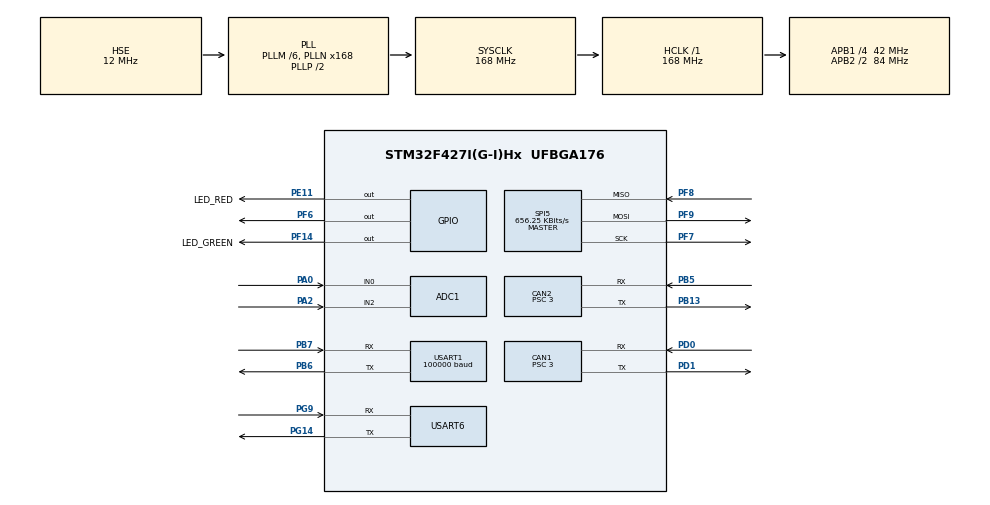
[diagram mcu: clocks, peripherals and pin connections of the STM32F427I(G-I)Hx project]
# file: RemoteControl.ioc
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ADC1.Channel-0\#ChannelRegularConversion=ADC_CHANNEL_0
ADC1.Channel-1\#ChannelRegularConversion=ADC_CHANNEL_2
ADC1.ClockPrescaler=ADC_CLOCK_SYNC_PCLK_DIV8
ADC1.ContinuousConvMode=ENABLE
ADC1.DMAContinuousRequests=ENABLE
ADC1.NbrOfConversion=2
ADC1.NbrOfConversionFlag=1
ADC1.Rank-0\#ChannelRegularConversion=1
ADC1.Rank-1\#ChannelRegularConversion=2
ADC1.SamplingTime-0\#ChannelRegularConversion=ADC_SAMPLETIME_3CYCLES
ADC1.SamplingTime-1\#ChannelRegularConversion=ADC_SAMPLETIME_3CYCLES
ADC1.ScanConvMode=ENABLE
ADC1.master=1
CAN1.BS1=CAN_BS1_10TQ
CAN1.BS2=CAN_BS2_3TQ
CAN1.CalculateBaudRate=1000000
CAN1.CalculateTimeBit=1000
CAN1.CalculateTimeQuantum=71.42857142857143
CAN1.Prescaler=3
CAN2.BS1=CAN_BS1_10TQ
CAN2.BS2=CAN_BS2_3TQ
CAN2.CalculateBaudRate=1000000
CAN2.CalculateTimeBit=1000
CAN2.CalculateTimeQuantum=71.42857142857143
CAN2.Prescaler=3
Dma.ADC1.1.Direction=DMA_PERIPH_TO_MEMORY
Dma.ADC1.1.FIFOMode=DMA_FIFOMODE_DISABLE
Dma.ADC1.1.Instance=DMA2_Stream0
Dma.ADC1.1.MemDataAlignment=DMA_MDATAALIGN_HALFWORD
Dma.ADC1.1.MemInc=DMA_MINC_ENABLE
Dma.ADC1.1.Mode=DMA_CIRCULAR
Dma.ADC1.1.PeriphDataAlignment=DMA_PDATAALIGN_HALFWORD
Dma.ADC1.1.PeriphInc=DMA_PINC_DISABLE
Dma.ADC1.1.Priority=DMA_PRIORITY_HIGH
Dma.Request0=USART1_RX
Dma.Request1=ADC1
Dma.Request2=USART6_RX
Dma.Request3=USART6_TX
Dma.USART1_RX.0.Direction=DMA_PERIPH_TO_MEMORY
Dma.USART1_RX.0.FIFOMode=DMA_FIFOMODE_DISABLE
Dma.USART1_RX.0.Instance=DMA2_Stream2
Dma.USART1_RX.0.MemDataAlignment=DMA_MDATAALIGN_BYTE
Dma.USART1_RX.0.MemInc=DMA_MINC_ENABLE
Dma.USART1_RX.0.Mode=DMA_CIRCULAR
Dma.USART1_RX.0.PeriphDataAlignment=DMA_PDATAALIGN_BYTE
Dma.USART1_RX.0.PeriphInc=DMA_PINC_DISABLE
Dma.USART1_RX.0.Priority=DMA_PRIORITY_LOW
Dma.USART6_RX.2.Direction=DMA_PERIPH_TO_MEMORY
Dma.USART6_RX.2.FIFOMode=DMA_FIFOMODE_DISABLE
Dma.USART6_RX.2.Instance=DMA2_Stream1
Dma.USART6_RX.2.MemDataAlignment=DMA_MDATAALIGN_BYTE
Dma.USART6_RX.2.MemInc=DMA_MINC_ENABLE
Dma.USART6_RX.2.Mode=DMA_NORMAL
Dma.USART6_RX.2.PeriphDataAlignment=DMA_PDATAALIGN_BYTE
Dma.USART6_RX.2.PeriphInc=DMA_PINC_DISABLE
Dma.USART6_RX.2.Priority=DMA_PRIORITY_HIGH
Dma.USART6_TX.3.Direction=DMA_MEMORY_TO_PERIPH
Dma.USART6_TX.3.FIFOMode=DMA_FIFOMODE_DISABLE
Dma.USART6_TX.3.Instance=DMA2_Stream6
Dma.USART6_TX.3.MemDataAlignment=DMA_MDATAALIGN_BYTE
Dma.USART6_TX.3.MemInc=DMA_MINC_ENABLE
Dma.USART6_TX.3.Mode=DMA_NORMAL
Dma.USART6_TX.3.PeriphDataAlignment=DMA_PDATAALIGN_BYTE
Dma.USART6_TX.3.PeriphInc=DMA_PINC_DISABLE
Dma.USART6_TX.3.Priority=DMA_PRIORITY_MEDIUM
FREERTOS.Tasks01=defaultTask,0,128,StartDefaultTask,Default,NULL,Dynamic,NULL,NULL
Mcu.Family=STM32F4
Mcu.Name=STM32F427I(G-I)Hx
Mcu.Package=UFBGA176
NVIC.CAN1_RX0_IRQn=true\:5\:0\:false\:false\:true\:true\:true\:true
NVIC.CAN2_RX0_IRQn=true\:5\:0\:false\:false\:true\:true\:true\:true
NVIC.DMA2_Stream0_IRQn=true\:10\:0\:true\:false\:true\:true\:false\:true
NVIC.DMA2_Stream1_IRQn=true\:5\:0\:false\:false\:true\:true\:false\:true
NVIC.DMA2_Stream2_IRQn=true\:10\:0\:true\:false\:true\:true\:false\:true
NVIC.DMA2_Stream6_IRQn=true\:5\:0\:false\:false\:true\:true\:false\:true
NVIC.PriorityGroup=NVIC_PRIORITYGROUP_4
NVIC.TIM1_UP_TIM10_IRQn=true\:15\:0\:false\:false\:true\:false\:false\:true
NVIC.TimeBase=TIM1_UP_TIM10_IRQn
NVIC.TimeBaseIP=TIM1
NVIC.USART1_IRQn=true\:5\:0\:false\:false\:true\:true\:true\:true
NVIC.USART6_IRQn=true\:5\:0\:false\:false\:false\:true\:true\:true
PA0/WKUP.Signal=ADCx_IN0
PA13.Mode=Serial_Wire
PA13.Signal=SYS_JTMS-SWDIO
PA14.Mode=Serial_Wire
PA14.Signal=SYS_JTCK-SWCLK
PA2.Signal=ADCx_IN2
PB13.Mode=CAN_Activate
PB13.Signal=CAN2_TX
PB5.Mode=CAN_Activate
PB5.Signal=CAN2_RX
PB6.Mode=Asynchronous
PB6.Signal=USART1_TX
PB7.Mode=Asynchronous
PB7.Signal=USART1_RX
PD0.Mode=CAN_Activate
PD0.Signal=CAN1_RX
PD1.Mode=CAN_Activate
PD1.Signal=CAN1_TX
PD8.Signal=USART3_TX
PD9.Signal=USART3_RX
PE11.GPIO_Label=LED_RED
PE11.Signal=GPIO_Output
PF14.GPIO_Label=LED_GREEN
PF14.Signal=GPIO_Output
PF6.Signal=GPIO_Output
PF7.Mode=Full_Duplex_Master
PF7.Signal=SPI5_SCK
PF8.Mode=Full_Duplex_Master
PF8.Signal=SPI5_MISO
PF9.Mode=Full_Duplex_Master
PF9.Signal=SPI5_MOSI
PG14.Mode=Asynchronous
PG14.Signal=USART6_TX
PG9.Mode=Asynchronous
PG9.Signal=USART6_RX
PH0/OSC_IN.Mode=HSE-External-Oscillator
PH0/OSC_IN.Signal=RCC_OSC_IN
PH1/OSC_OUT.Mode=HSE-External-Oscillator
PH1/OSC_OUT.Signal=RCC_OSC_OUT
ProjectManager.HeapSize=0x200
ProjectManager.StackSize=0x400
ProjectManager.TargetToolchain=MDK-ARM V5
RCC.48MHZClocksFreq_Value=48000000
RCC.AHBFreq_Value=168000000
RCC.APB1CLKDivider=RCC_HCLK_DIV4
RCC.APB1Freq_Value=42000000
RCC.APB1TimFreq_Value=84000000
RCC.APB2CLKDivider=RCC_HCLK_DIV2
RCC.APB2Freq_Value=84000000
RCC.APB2TimFreq_Value=168000000
RCC.CortexFreq_Value=168000000
RCC.HCLKFreq_Value=168000000
RCC.HSE_VALUE=12000000
RCC.HSI_VALUE=16000000
RCC.LSE_VALUE=32768
RCC.PLLM=6
RCC.PLLN=168
RCC.PLLQ=7
RCC.PLLSourceVirtual=RCC_PLLSOURCE_HSE
RCC.SYSCLKFreq_VALUE=168000000
RCC.SYSCLKSource=RCC_SYSCLKSOURCE_PLLCLK
RCC.VCOOutputFreq_Value=336000000
SH.ADCx_IN0.0=ADC1_IN0,IN0
SH.ADCx_IN2.0=ADC2_IN2
SH.ADCx_IN2.1=ADC1_IN2,IN2
SPI5.BaudRatePrescaler=SPI_BAUDRATEPRESCALER_128
SPI5.CalculateBaudRate=656.25 KBits/s
SPI5.Direction=SPI_DIRECTION_2LINES
SPI5.Mode=SPI_MODE_MASTER
SPI5.VirtualType=VM_MASTER
USART1.BaudRate=100000
USART1.Parity=PARITY_EVEN
USART1.VirtualMode=VM_ASYNC
USART6.VirtualMode=VM_ASYNC
VP_FREERTOS_VS_CMSIS_V1.Mode=CMSIS_V1
VP_RNG_VS_RNG.Mode=RNG_Activate
VP_SYS_VS_tim1.Mode=TIM1
board=RemoteControl

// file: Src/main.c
/* USER CODE BEGIN Header */
/**
  ******************************************************************************
  * @file           : main.c
  * @brief          : Main program body
  ******************************************************************************
  * @attention
  *
  * Copyright (c) 2022 STMicroelectronics.
  * All rights reserved.
  *
  * This software is licensed under terms that can be found in the LICENSE file
  * in the root directory of this software component.
  * If no LICENSE file comes with this software, it is provided AS-IS.
  *
  ******************************************************************************
  */
/* USER CODE END Header */
#include "main.h"
#include "cmsis_os.h"
#include "adc.h"
#include "can.h"
#include "dma.h"
#include "rng.h"
#include "spi.h"
#include "usart.h"
#include "gpio.h"

/* USER CODE BEGIN Includes */
#include "bsp_uart.h"
#include "chassis_task.h"
#include "bsp_can.h"
#include "bsp_imu.h"
/* USER CODE END Includes */

/* USER CODE BEGIN PV */
/* Private variables ---------------------------------------------------------*/
extern rc_info_t rc;
//char buf[200];
//int count;
uint16_t ADC_Value1[2];
/* USER CODE END PV */

void SystemClock_Config(void);
void MX_FREERTOS_Init(void);
/* USER CODE BEGIN PFP */
/* Private function prototypes -----------------------------------------------*/

/* USER CODE END PFP */

int main(void)
{

  /* MCU Configuration--------------------------------------------------------*/

  /* Reset of all peripherals, Initializes the Flash interface and the Systick. */
  HAL_Init();

  /* Configure the system clock */
  SystemClock_Config();

  /* Initialize all configured peripherals */
  MX_GPIO_Init();
  MX_DMA_Init();
  MX_USART6_UART_Init();
  MX_USART1_UART_Init();
  MX_CAN1_Init();
  MX_CAN2_Init();
  MX_ADC1_Init();
  MX_RNG_Init();
  MX_SPI5_Init();
  /* USER CODE BEGIN 2 */
	led_off();
	/* open dbus uart receive it */
	dbus_uart_init();
	can_filter_init();
	mpu_device_init();
	init_quaternion();
	HAL_GPIO_WritePin(GPIOF, LED_GREEN_Pin,GPIO_PIN_RESET);
//		HAL_ADC_Start_DMA(&hadc2,(uint32_t *)&ADC_Value2,1);
		HAL_ADC_Start_DMA(&hadc1,(uint32_t *)ADC_Value1,2);
  /* USER CODE END 2 */

  /* Call init function for freertos objects (in freertos.c) */
  MX_FREERTOS_Init();
  /* Start scheduler */
  osKernelStart();

  /* We should never get here as control is now taken by the scheduler */
  /* Infinite loop */
  while (1)
  {

    /* USER CODE BEGIN 3 */
//	sprintf(buf, "CH1: %4d  CH2: %4d  CH3: %4d  CH4: %4d  SW1: %1d  SW2: %1d \n", rc.ch1, rc.ch2, rc.ch3, rc.ch4, rc.sw1, rc.sw2);
//	HAL_UART_Transmit(&huart6, (uint8_t *)buf, (COUNTOF(buf) - 1), 55);
//	HAL_Delay(50);
  }
  /* USER CODE END 3 */
}

void SystemClock_Config(void)
{
  RCC_OscInitTypeDef RCC_OscInitStruct = {0};
  RCC_ClkInitTypeDef RCC_ClkInitStruct = {0};

  /** Configure the main internal regulator output voltage
  */
  __HAL_RCC_PWR_CLK_ENABLE();
  __HAL_PWR_VOLTAGESCALING_CONFIG(PWR_REGULATOR_VOLTAGE_SCALE1);
  /** Initializes the RCC Oscillators according to the specified parameters
  * in the RCC_OscInitTypeDef structure.
  */
  RCC_OscInitStruct.OscillatorType = RCC_OSCILLATORTYPE_HSE;
  RCC_OscInitStruct.HSEState = RCC_HSE_ON;
  RCC_OscInitStruct.PLL.PLLState = RCC_PLL_ON;
  RCC_OscInitStruct.PLL.PLLSource = RCC_PLLSOURCE_HSE;
  RCC_OscInitStruct.PLL.PLLM = 6;
  RCC_OscInitStruct.PLL.PLLN = 168;
  RCC_OscInitStruct.PLL.PLLP = RCC_PLLP_DIV2;
  RCC_OscInitStruct.PLL.PLLQ = 7;
  if (HAL_RCC_OscConfig(&RCC_OscInitStruct) != HAL_OK)
  {
    Error_Handler();
  }
  /** Initializes the CPU, AHB and APB buses clocks
  */
  RCC_ClkInitStruct.ClockType = RCC_CLOCKTYPE_HCLK|RCC_CLOCKTYPE_SYSCLK
                              |RCC_CLOCKTYPE_PCLK1|RCC_CLOCKTYPE_PCLK2;
  RCC_ClkInitStruct.SYSCLKSource = RCC_SYSCLKSOURCE_PLLCLK;
  RCC_ClkInitStruct.AHBCLKDivider = RCC_SYSCLK_DIV1;
  RCC_ClkInitStruct.APB1CLKDivider = RCC_HCLK_DIV4;
  RCC_ClkInitStruct.APB2CLKDivider = RCC_HCLK_DIV2;

  if (HAL_RCC_ClockConfig(&RCC_ClkInitStruct, FLASH_LATENCY_5) != HAL_OK)
  {
    Error_Handler();
  }
}

void HAL_TIM_PeriodElapsedCallback(TIM_HandleTypeDef *htim)
{
  if (htim->Instance == TIM1) {
    HAL_IncTick();
  }
}

void Error_Handler(void)
{
  while(1)
  {
  }
}

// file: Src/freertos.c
/* USER CODE BEGIN Header */
/**
  ******************************************************************************
  * File Name          : freertos.c
  * Description        : Code for freertos applications
  ******************************************************************************
  * @attention
  *
  * Copyright (c) 2022 STMicroelectronics.
  * All rights reserved.
  *
  * This software is licensed under terms that can be found in the LICENSE file
  * in the root directory of this software component.
  * If no LICENSE file comes with this software, it is provided AS-IS.
  *
  ******************************************************************************
  */
/* USER CODE END Header */

#include "FreeRTOS.h"
#include "task.h"
#include "main.h"
#include "cmsis_os.h"

/* USER CODE BEGIN Includes */
#include "chassis_task.h"
#include "referee_usart_task.h"
#include "bsp_imu.h"
/* USER CODE END Includes */

/* USER CODE BEGIN PTD */
osThreadId chassisTaskHandle;
osThreadId referee_usart_task_handle;
osThreadId IMUTaskHandle;

/* USER CODE END PTD */

osThreadId defaultTaskHandle;

void StartDefaultTask(void const * argument);

void MX_FREERTOS_Init(void); /* (MISRA C 2004 rule 8.1) */

/* GetIdleTaskMemory prototype (linked to static allocation support) */
void vApplicationGetIdleTaskMemory( StaticTask_t **ppxIdleTaskTCBBuffer, StackType_t **ppxIdleTaskStackBuffer, uint32_t *pulIdleTaskStackSize );

/* USER CODE BEGIN GET_IDLE_TASK_MEMORY */
static StaticTask_t xIdleTaskTCBBuffer;
static StackType_t xIdleStack[configMINIMAL_STACK_SIZE];

void vApplicationGetIdleTaskMemory( StaticTask_t **ppxIdleTaskTCBBuffer, StackType_t **ppxIdleTaskStackBuffer, uint32_t *pulIdleTaskStackSize )
{
  *ppxIdleTaskTCBBuffer = &xIdleTaskTCBBuffer;
  *ppxIdleTaskStackBuffer = &xIdleStack[0];
  *pulIdleTaskStackSize = configMINIMAL_STACK_SIZE;
  /* place for user code */
}
/* USER CODE END GET_IDLE_TASK_MEMORY */

void MX_FREERTOS_Init(void) {

  /* Create the thread(s) */
  /* definition and creation of defaultTask */
  osThreadDef(defaultTask, StartDefaultTask, osPriorityNormal, 0, 128);
  defaultTaskHandle = osThreadCreate(osThread(defaultTask), NULL);

  /* USER CODE BEGIN RTOS_THREADS */
  /* add threads, ... */
	  osThreadDef(ChassisTask, chassis_task, osPriorityAboveNormal, 0, 512);
    chassisTaskHandle = osThreadCreate(osThread(ChassisTask), NULL);

		osThreadDef(REFEREE, referee_usart_task, osPriorityNormal, 0, 512);
    referee_usart_task_handle = osThreadCreate(osThread(REFEREE), NULL);

		osThreadDef(IMU, IMU_task, osPriorityNormal, 0, 512);
		IMUTaskHandle = osThreadCreate(osThread(IMU), NULL);
  /* USER CODE END RTOS_THREADS */

}

void StartDefaultTask(void const * argument)
{
  for(;;)
  {
    osDelay(1);
  }
}
